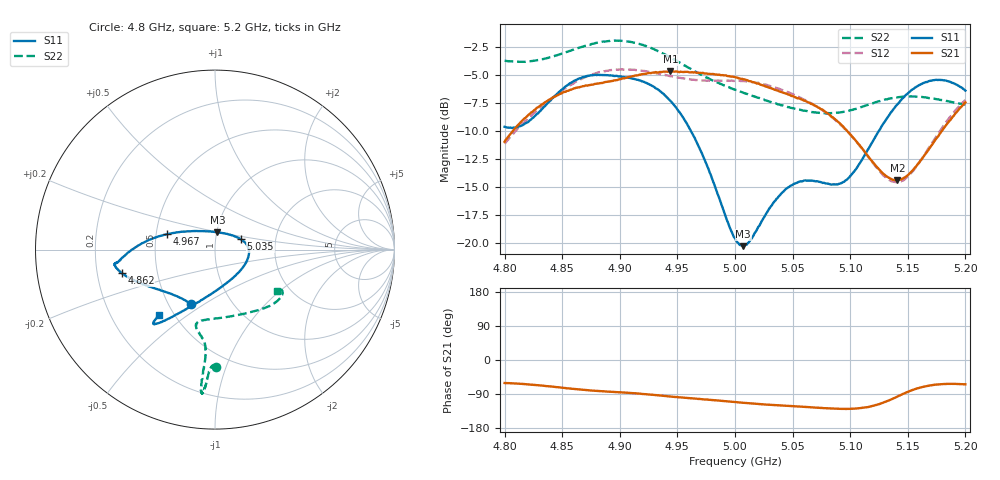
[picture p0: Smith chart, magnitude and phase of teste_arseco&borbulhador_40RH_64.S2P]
! Network Analyzer HP8722D
! Hewlett-Packard
! Data name: Linha & Wilkinson
! Saver's name: Rodrigo Anjos
! Comments: Teste da utilização de aquisição
! continua pelo VNA HP8722D
! Time and date: 15/4/2025 16:53
!  Frequency  S11  S21  S12  S22
# HZ  S  MA R 50
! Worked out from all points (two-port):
!   401 points, 4.8 GHz to 5.2 GHz, reference 50 ohm
!   highest |S21| = -4.64 dB at 4.944 GHz (marker M1); lowest = -14.4 dB at 5.141 GHz (marker M2)
!   |S21| within 3 dB of the highest: 4.832 GHz to 5.068 GHz (236.7 MHz wide, 4.78 % of centre); 5.19796 GHz to end of sweep
!   lowest |S11| = -20.3 dB at 5.007 GHz (marker M3), VSWR 1.21, Z = 50.5 + j9.78 ohm
!   |S11| at or under -10 dB: 4.962 GHz to 5.125 GHz (162.8 MHz wide, 3.23 % of centre)
!   |S22| runs from -8.4 to -1.9 dB; largest |S21 - S12| = 0.88
!   S11 on the Smith chart (normalised r, x): 4.8 GHz: 0.65, -0.44; 4.862 GHz: 0.31, -0.11; 4.967 GHz: 0.57, +0.11; 5.035 GHz: 1.33, +0.16; 5.2 GHz: 0.41, -0.39
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4.8e9  0.3313 -114.1  0.2842 -60.8  0.2782 -175.1  0.6545 -89.6
4.819e9  0.3455 -133.9  0.367 -63.9  0.355 -173.5  0.6479 -91.4
4.862e9  0.5361 -166.0  0.4953 -76.8  0.5273 -176.7  0.7404 -93.7
4.867e9  0.5498 -167.9  0.5012 -78.4  0.5427 -177.7  0.7535 -93.9
4.901e9  0.5561 -172.3  0.5415 -85.2  0.5972 175.3  0.8028 -95.3
4.934e9  0.4828 -178.2  0.5808 -93.4  0.5741 171.8  0.7187 -95.7
4.944e9  0.4328 177.3  0.5859 -96.3  0.5573 171.8  0.6768 -95.6
4.967e9  0.2816 162.3  0.5775 -102.1  0.5358 174.0  0.5779 -95.0
5e9  0.1053 105.8  0.5524 -111.0  0.5336 176.2  0.4858 -99.4
5.007e9  0.09702 81.8  0.5406 -112.8  0.5303 176.3  0.4707 -100.9
5.014e9  0.1042 59.6  0.5284 -114.8  0.5258 176.0  0.4579 -102.5
5.035e9  0.1549 21.6  0.4842 -119.2  0.4961 175.0  0.4225 -103.9
5.05e9  0.1824 6.1  0.4546 -121.7  0.4636 174.2  0.4013 -100.3
5.067e9  0.1904 -12.3  0.4186 -125.1  0.4203 173.8  0.3853 -91.7
5.087e9  0.1829 -44.9  0.3575 -128.5  0.3559 173.7  0.3823 -76.7
5.097e9  0.1922 -65.9  0.3188 -129.1  0.3179 174.4  0.3891 -68.3
5.134e9  0.3745 -116.5  0.1953 -106.2  0.1915 -159.0  0.4428 -43.4
5.141e9  0.4175 -120.4  0.1911 -96.3  0.1878 -148.0  0.449 -40.2
5.153e9  0.4822 -125.2  0.2085 -80.4  0.2063 -129.5  0.4529 -36.0
5.17e9  0.5323 -128.9  0.2707 -66.8  0.2752 -113.0  0.4449 -32.2
5.184e9  0.5309 -130.1  0.3414 -63.1  0.3522 -107.2  0.4321 -31.2
5.2e9  0.4808 -130.6  0.4259 -64.2  0.4371 -106.3  0.4162 -33.5
